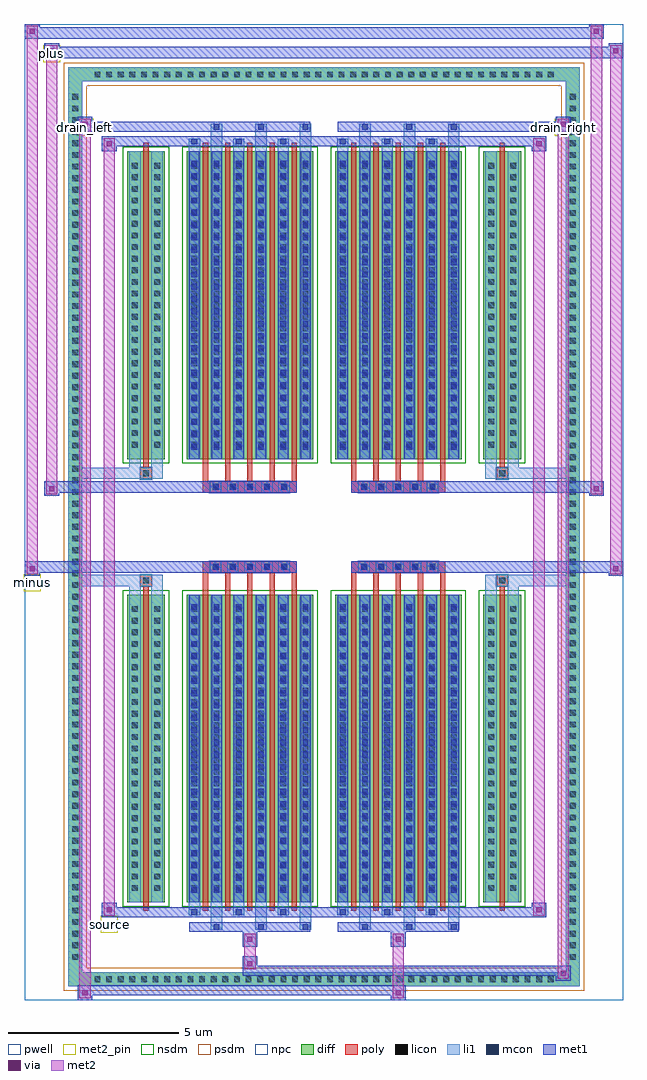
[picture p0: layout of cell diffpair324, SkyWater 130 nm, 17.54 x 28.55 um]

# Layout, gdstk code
import gdstk
lib = gdstk.Library(unit=1e-6, precision=5e-09)
def R(c, l, rs):  # rectangles x0, y0, x1, y1
    for r in rs: c.add(gdstk.rectangle(r[:2], r[2:], *l))
def A(c, l, x, y, w, h, nx, ny, dx, dy):  # array of equal rectangles
    R(c, l, [(x+i*dx, y+j*dy, x+i*dx+w, y+j*dy+h) for i in range(nx) for j in range(ny)])
def P(c, l, *ps):  # polygons
    for p in ps: c.add(gdstk.Polygon(p, *l))
pwell = (64, 44)
diff = (65, 20)
poly = (66, 20)
licon = (66, 44)
li1 = (67, 20)
mcon = (67, 44)
met1 = (68, 20)
via = (68, 44)
met2_pin = (69, 16)
met2 = (69, 20)
nsdm = (93, 44)
psdm = (94, 20)
npc = (95, 20)

diffpair324 = lib.new_cell('diffpair324')
R(diffpair324, pwell, [(-8.75,-13.84,8.75,14.71), (-6.07,-12.03,-0.01,-0.805), (0.01,-12.03,6.07,-0.805), (-6.07,0.805,-0.01,12.03), (0.01,0.805,6.07,12.03)])
A(diffpair324, diff, -6.835, -13.44, 0.41, 0.41, 40, 2, 0.34, 26.47)
A(diffpair324, diff, -7.48, -12.785, 0.41, 0.41, 1, 75, 0, 0.34)
A(diffpair324, diff, 7.07, -12.785, 0.41, 0.41, 1, 75, 0, 0.34)
R(diffpair324, diff, [(-6.835,-13.44,6.835,-13.03), (-7.48,-12.785,-7.07,12.785), (7.07,-12.785,7.48,12.785), (-5.76,-10.985,-4.66,-1.985), (-4.02,-10.985,-0.32,-1.985), (0.32,-10.985,4.02,-1.985), (4.66,-10.985,5.76,-1.985), (-5.76,1.985,-4.66,10.985), (-4.02,1.985,-0.32,10.985), (0.32,1.985,4.02,10.985), (4.66,1.985,5.76,10.985), (-6.835,13.03,6.835,13.44)])
P(diffpair324, diff, [(7.48,13.44),(-7.48,13.44),(-7.48,-13.03),(-7.07,-13.03),(-7.07,13.03),(7.07,13.03),(7.07,-13.03),(-7.07,-13.03),(-7.48,-13.03),(-7.48,-13.44),(7.48,-13.44)])
A(diffpair324, poly, -3.545, -11.235, 0.15, 9.5, 5, 2, 0.65, 12.97)
A(diffpair324, poly, 0.795, -11.235, 0.15, 9.5, 5, 2, 0.65, 12.97)
A(diffpair324, poly, -3.545, -1.735, 0.15, 0.4, 5, 2, 0.65, 3.07)
A(diffpair324, poly, 0.795, -1.735, 0.15, 0.4, 5, 2, 0.65, 3.07)
A(diffpair324, poly, -3.335, -1.335, 0.33, 0.33, 5, 2, 0.5, 2.34)
A(diffpair324, poly, 1.005, -1.335, 0.33, 0.33, 5, 2, 0.5, 2.34)
R(diffpair324, poly, [(-5.285,-11.235,-5.135,-1.735), (5.135,-11.235,5.285,-1.735), (-5.375,-1.735,-5.045,-1.405), (-5.375,-1.735,-5.045,-1.405), (5.045,-1.735,5.375,-1.405), (5.045,-1.735,5.375,-1.405), (-3.545,-1.335,-0.795,-1.005), (0.795,-1.335,3.545,-1.005), (-3.545,1.005,-0.795,1.335), (0.795,1.005,3.545,1.335), (-5.375,1.405,-5.045,1.735), (-5.375,1.405,-5.045,1.735), (5.045,1.405,5.375,1.735), (5.045,1.405,5.375,1.735), (-5.285,1.735,-5.135,11.235), (5.135,1.735,5.285,11.235)])
A(diffpair324, licon, -6.715, -13.32, 0.17, 0.17, 40, 2, 0.34, 26.47)
A(diffpair324, licon, -7.36, -12.665, 0.17, 0.17, 1, 75, 0, 0.34)
A(diffpair324, licon, 7.19, -12.665, 0.17, 0.17, 1, 75, 0, 0.34)
A(diffpair324, licon, -5.62, -10.65, 0.17, 0.17, 1, 25, 0, 0.34)
A(diffpair324, licon, -4.97, -10.65, 0.17, 0.17, 1, 25, 0, 0.34)
A(diffpair324, licon, -3.88, -10.65, 0.17, 0.17, 6, 25, 0.65, 0.34)
A(diffpair324, licon, 0.46, -10.65, 0.17, 0.17, 6, 25, 0.65, 0.34)
A(diffpair324, licon, 4.8, -10.65, 0.17, 0.17, 1, 25, 0, 0.34)
A(diffpair324, licon, 5.45, -10.65, 0.17, 0.17, 1, 25, 0, 0.34)
A(diffpair324, licon, -3.255, -1.255, 0.17, 0.17, 5, 2, 0.5, 2.34)
A(diffpair324, licon, 1.085, -1.255, 0.17, 0.17, 5, 2, 0.5, 2.34)
A(diffpair324, licon, -5.62, 2.32, 0.17, 0.17, 1, 25, 0, 0.34)
A(diffpair324, licon, -4.97, 2.32, 0.17, 0.17, 1, 25, 0, 0.34)
A(diffpair324, licon, -3.88, 2.32, 0.17, 0.17, 6, 25, 0.65, 0.34)
A(diffpair324, licon, 0.46, 2.32, 0.17, 0.17, 6, 25, 0.65, 0.34)
A(diffpair324, licon, 4.8, 2.32, 0.17, 0.17, 1, 25, 0, 0.34)
A(diffpair324, licon, 5.45, 2.32, 0.17, 0.17, 1, 25, 0, 0.34)
R(diffpair324, licon, [(-5.295,-1.655,-5.125,-1.485), (5.125,-1.655,5.295,-1.485), (-5.295,1.485,-5.125,1.655), (5.125,1.485,5.295,1.655)])
A(diffpair324, li1, -6.795, -13.4, 0.33, 0.33, 40, 2, 0.34, 26.47)
A(diffpair324, li1, -7.44, -12.745, 0.33, 0.33, 1, 75, 0, 0.34)
A(diffpair324, li1, 7.11, -12.745, 0.33, 0.33, 1, 75, 0, 0.34)
A(diffpair324, li1, -3.31, -11.79, 0.33, 0.805, 3, 2, 1.3, 22.775)
A(diffpair324, li1, -3.23, -11.79, 0.17, 0.17, 3, 2, 1.3, 23.41)
A(diffpair324, li1, 1.03, -11.79, 0.33, 0.805, 3, 2, 1.3, 22.775)
A(diffpair324, li1, 1.11, -11.79, 0.17, 0.17, 3, 2, 1.3, 23.41)
A(diffpair324, li1, -3.96, -11.36, 0.33, 0.375, 3, 2, 1.3, 22.345)
A(diffpair324, li1, -3.88, -11.36, 0.17, 0.17, 3, 2, 1.3, 22.55)
A(diffpair324, li1, 0.38, -11.36, 0.33, 0.375, 3, 2, 1.3, 22.345)
A(diffpair324, li1, 0.46, -11.36, 0.17, 0.17, 3, 2, 1.3, 22.55)
A(diffpair324, li1, -3.96, -10.985, 0.33, 9, 6, 2, 0.65, 12.97)
A(diffpair324, li1, 0.38, -10.985, 0.33, 9, 6, 2, 0.65, 12.97)
A(diffpair324, li1, -5.7, -10.73, 0.33, 0.33, 1, 25, 0, 0.34)
A(diffpair324, li1, -5.05, -10.73, 0.33, 0.33, 1, 25, 0, 0.34)
A(diffpair324, li1, -3.96, -10.73, 0.33, 0.33, 6, 25, 0.65, 0.34)
A(diffpair324, li1, 0.38, -10.73, 0.33, 0.33, 6, 25, 0.65, 0.34)
A(diffpair324, li1, 4.72, -10.73, 0.33, 0.33, 1, 25, 0, 0.34)
A(diffpair324, li1, 5.37, -10.73, 0.33, 0.33, 1, 25, 0, 0.34)
A(diffpair324, li1, -3.88, -10.71, 0.17, 0.17, 6, 24, 0.65, 0.36)
A(diffpair324, li1, -3.88, -10.71, 0.17, 8.45, 6, 2, 0.65, 12.97)
A(diffpair324, li1, 0.46, -10.71, 0.17, 0.17, 6, 24, 0.65, 0.36)
A(diffpair324, li1, 0.46, -10.71, 0.17, 8.45, 6, 2, 0.65, 12.97)
A(diffpair324, li1, -3.335, -1.335, 0.33, 0.33, 5, 2, 0.5, 2.34)
A(diffpair324, li1, 1.005, -1.335, 0.33, 0.33, 5, 2, 0.5, 2.34)
A(diffpair324, li1, -5.7, 2.24, 0.33, 0.33, 1, 25, 0, 0.34)
A(diffpair324, li1, -5.05, 2.24, 0.33, 0.33, 1, 25, 0, 0.34)
A(diffpair324, li1, -3.96, 2.24, 0.33, 0.33, 6, 25, 0.65, 0.34)
A(diffpair324, li1, 0.38, 2.24, 0.33, 0.33, 6, 25, 0.65, 0.34)
A(diffpair324, li1, 4.72, 2.24, 0.33, 0.33, 1, 25, 0, 0.34)
A(diffpair324, li1, 5.37, 2.24, 0.33, 0.33, 1, 25, 0, 0.34)
A(diffpair324, li1, -3.88, 2.26, 0.17, 0.17, 6, 24, 0.65, 0.36)
A(diffpair324, li1, 0.46, 2.26, 0.17, 0.17, 6, 24, 0.65, 0.36)
R(diffpair324, li1, [(-7.48,-13.44,-7.07,-13.03), (-7.48,-13.44,-7.07,-13.03), (-7.07,-13.44,7.07,-13.03), (7.07,-13.44,7.48,-13.03), (7.07,-13.44,7.48,-13.03), (-7.48,-13.03,-7.07,13.03), (7.07,-13.03,7.48,13.03), (-5.7,-10.985,-5.37,-1.985), (-5.05,-10.985,-4.72,-1.985), (4.72,-10.985,5.05,-1.985), (5.37,-10.985,5.7,-1.985), (-5.7,-1.985,-5.37,-1.405), (-5.05,-1.985,-4.72,-1.405), (4.72,-1.985,5.05,-1.405), (5.37,-1.985,5.7,-1.405), (-7.48,-1.735,-5.375,-1.405), (-5.7,-1.735,-5.375,-1.405), (-5.375,-1.735,-5.045,-1.405), (-5.045,-1.735,-4.72,-1.405), (4.72,-1.735,5.045,-1.405), (5.045,-1.735,5.375,-1.405), (5.045,-1.735,7.48,-1.405), (5.375,-1.735,5.7,-1.405), (-7.48,1.405,-5.375,1.735), (-5.7,1.405,-5.375,1.735), (-5.7,1.405,-5.37,1.985), (-5.375,1.405,-5.045,1.735), (-5.05,1.405,-4.72,1.985), (-5.045,1.405,-4.72,1.735), (4.72,1.405,5.045,1.735), (4.72,1.405,5.05,1.985), (5.045,1.405,5.375,1.735), (5.045,1.405,7.48,1.735), (5.37,1.405,5.7,1.985), (5.375,1.405,5.7,1.735), (-5.7,1.985,-5.37,10.985), (-5.05,1.985,-4.72,10.985), (4.72,1.985,5.05,10.985), (5.37,1.985,5.7,10.985), (-7.48,13.03,-7.07,13.44), (-7.48,13.03,-7.07,13.44), (-7.07,13.03,7.07,13.44), (7.07,13.03,7.48,13.44), (7.07,13.03,7.48,13.44)])
A(diffpair324, mcon, -3.23, -11.79, 0.17, 0.17, 3, 2, 1.3, 23.41)
A(diffpair324, mcon, 1.11, -11.79, 0.17, 0.17, 3, 2, 1.3, 23.41)
A(diffpair324, mcon, -3.88, -11.36, 0.17, 0.17, 3, 2, 1.3, 22.55)
A(diffpair324, mcon, 0.46, -11.36, 0.17, 0.17, 3, 2, 1.3, 22.55)
A(diffpair324, mcon, -3.88, -10.71, 0.17, 0.17, 6, 24, 0.65, 0.36)
A(diffpair324, mcon, 0.46, -10.71, 0.17, 0.17, 6, 24, 0.65, 0.36)
A(diffpair324, mcon, -3.255, -1.255, 0.17, 0.17, 5, 2, 0.5, 2.34)
A(diffpair324, mcon, 1.085, -1.255, 0.17, 0.17, 5, 2, 0.5, 2.34)
A(diffpair324, mcon, -3.88, 2.26, 0.17, 0.17, 6, 24, 0.65, 0.36)
A(diffpair324, mcon, 0.46, 2.26, 0.17, 0.17, 6, 24, 0.65, 0.36)
A(diffpair324, met1, -3.29, -11.85, 0.29, 0.29, 3, 2, 1.3, 23.41)
A(diffpair324, met1, 1.05, -11.85, 0.29, 0.29, 3, 2, 1.3, 23.41)
A(diffpair324, met1, -3.94, -11.42, 0.29, 0.29, 3, 2, 1.3, 22.55)
A(diffpair324, met1, 0.4, -11.42, 0.29, 0.29, 3, 2, 1.3, 22.55)
A(diffpair324, met1, -3.94, -10.985, 0.29, 9, 6, 2, 0.65, 12.97)
A(diffpair324, met1, 0.4, -10.985, 0.29, 9, 6, 2, 0.65, 12.97)
A(diffpair324, met1, -3.94, -10.77, 0.29, 0.29, 6, 24, 0.65, 0.36)
A(diffpair324, met1, 0.4, -10.77, 0.29, 0.29, 6, 24, 0.65, 0.36)
A(diffpair324, met1, -3.315, -1.315, 0.29, 0.29, 5, 2, 0.5, 2.34)
A(diffpair324, met1, 1.025, -1.315, 0.29, 0.29, 5, 2, 0.5, 2.34)
A(diffpair324, met1, -3.94, 2.2, 0.29, 0.29, 6, 24, 0.65, 0.36)
A(diffpair324, met1, 0.4, 2.2, 0.29, 0.29, 6, 24, 0.65, 0.36)
R(diffpair324, met1, [(-7.21,-13.84,-6.78,-13.41), (1.955,-13.84,2.385,-13.41), (-7.21,-13.7,2.385,-13.41), (6.78,-13.27,7.21,-12.84), (-2.385,-13.13,7.21,-12.84), (-2.385,-12.99,-1.955,-12.56), (-2.385,-12.28,-1.955,-11.85), (1.955,-12.28,2.385,-11.85), (-3.94,-11.85,-0.4,-11.56), (0.4,-11.85,3.94,-11.56), (-6.5,-11.42,-6.07,-10.99), (-6.5,-11.42,-3.94,-11.13), (-3.94,-11.42,-0.4,-11.13), (-0.4,-11.42,0.4,-11.13), (0.4,-11.42,3.94,-11.13), (3.94,-11.42,6.5,-11.13), (6.07,-11.42,6.5,-10.99), (-8.75,-1.435,-8.32,-1.005), (8.32,-1.435,8.75,-1.005), (-8.75,-1.335,-0.795,-1.005), (-3.545,-1.335,-0.795,-1.005), (0.795,-1.335,3.545,-1.005), (0.795,-1.335,8.75,-1.005), (-8.18,0.905,-7.75,1.335), (7.75,0.905,8.18,1.335), (-8.18,1.005,-3.545,1.335), (-3.545,1.005,-0.795,1.335), (0.795,1.005,3.545,1.335), (3.545,1.005,8.18,1.335), (-6.5,10.99,-6.07,11.42), (6.07,10.99,6.5,11.42), (-6.5,11.13,-3.94,11.42), (-3.94,11.13,-0.4,11.42), (-0.4,11.13,0.4,11.42), (0.4,11.13,3.94,11.42), (3.94,11.13,6.5,11.42), (-7.21,11.56,-6.78,11.99), (-7.21,11.56,-3.94,11.85), (-3.94,11.56,-0.4,11.85), (0.4,11.56,3.94,11.85), (3.94,11.56,7.21,11.85), (6.78,11.56,7.21,11.99), (-8.18,13.71,-7.75,14.14), (-8.18,13.71,-6.07,14.04), (-6.07,13.71,6.07,14.04), (6.07,13.71,8.75,14.04), (8.32,13.71,8.75,14.14), (-8.75,14.28,-8.32,14.71), (-8.75,14.28,-6.07,14.61), (-6.07,14.28,6.07,14.61), (6.07,14.28,8.18,14.61), (7.75,14.28,8.18,14.71)])
R(diffpair324, via, [(-7.07,-13.7,-6.92,-13.55), (2.095,-13.7,2.245,-13.55), (6.92,-13.13,7.07,-12.98), (-2.245,-12.85,-2.095,-12.7), (-2.245,-12.14,-2.095,-11.99), (2.095,-12.14,2.245,-11.99), (-6.36,-11.28,-6.21,-11.13), (6.21,-11.28,6.36,-11.13), (-8.61,-1.295,-8.46,-1.145), (8.46,-1.295,8.61,-1.145), (-8.04,1.045,-7.89,1.195), (7.89,1.045,8.04,1.195), (-6.36,11.13,-6.21,11.28), (6.21,11.13,6.36,11.28), (-7.07,11.7,-6.92,11.85), (6.92,11.7,7.07,11.85), (-8.04,13.85,-7.89,14), (8.46,13.85,8.61,14), (-8.61,14.42,-8.46,14.57), (7.89,14.42,8.04,14.57)])
R(diffpair324, met2_pin, [(-6.535,-11.87,-6.035,-11.37), (-8.785,-1.885,-8.285,-1.385), (-7.245,11.44,-6.745,11.94), (6.745,11.44,7.245,11.94), (-8.215,13.59,-7.715,14.09)])
R(diffpair324, met2, [(-7.16,-13.79,-6.83,-13.46), (-7.16,-13.79,-6.83,11.94), (2.005,-13.79,2.335,-13.46), (2.005,-13.46,2.335,-12.23), (6.83,-13.22,7.16,-12.89), (6.83,-13.22,7.16,11.94), (-2.335,-12.94,-2.005,-12.61), (-2.335,-12.61,-2.005,-12.23), (-2.335,-12.23,-2.005,-11.9), (2.005,-12.23,2.335,-11.9), (-6.45,-11.37,-6.12,-11.04), (-6.45,-11.37,-6.12,11.37), (6.12,-11.37,6.45,-11.04), (6.12,-11.37,6.45,11.37), (-8.7,-1.385,-8.37,-1.055), (-8.7,-1.385,-8.37,14.66), (8.37,-1.385,8.7,-1.055), (8.37,-1.385,8.7,14.09), (-8.13,0.955,-7.8,1.285), (-8.13,0.955,-7.8,14.09), (7.8,0.955,8.13,1.285), (7.8,0.955,8.13,14.66), (-6.45,11.04,-6.12,11.37), (6.12,11.04,6.45,11.37), (-7.16,11.61,-6.83,11.94), (6.83,11.61,7.16,11.94), (-8.13,13.76,-7.8,14.09), (8.37,13.76,8.7,14.09), (-8.7,14.33,-8.37,14.66), (7.8,14.33,8.13,14.66)])
P(diffpair324, met2, [(8.7,-1.385),(8.7,-1.385),(8.7,-1.055),(8.7,-1.055)],
  [(8.7,13.76),(8.7,13.76),(8.7,14.09),(8.7,14.09)],
  [(-8.37,-1.385),(-8.37,-1.385),(-8.37,-1.055),(-8.37,-1.055)],
  [(-8.37,14.33),(-8.37,14.33),(-8.37,14.66),(-8.37,14.66)],
  [(8.13,0.955),(8.13,0.955),(8.13,1.285),(8.13,1.285)],
  [(8.13,14.33),(8.13,14.33),(8.13,14.66),(8.13,14.66)],
  [(-7.8,0.955),(-7.8,0.955),(-7.8,1.285),(-7.8,1.285)],
  [(-7.8,13.76),(-7.8,13.76),(-7.8,14.09),(-7.8,14.09)],
  [(-6.83,-13.79),(-6.83,-13.79),(-6.83,-13.46),(-6.83,-13.46)],
  [(-6.83,11.61),(-6.83,11.61),(-6.83,11.94),(-6.83,11.94)],
  [(7.16,-13.22),(7.16,-13.22),(7.16,-12.89),(7.16,-12.89)],
  [(7.16,11.61),(7.16,11.61),(7.16,11.94),(7.16,11.94)],
  [(-6.12,-11.37),(-6.12,-11.37),(-6.12,-11.04),(-6.12,-11.04)],
  [(-6.12,11.04),(-6.12,11.04),(-6.12,11.37),(-6.12,11.37)],
  [(6.45,-11.37),(6.45,-11.37),(6.45,-11.04),(6.45,-11.04)],
  [(6.45,11.04),(6.45,11.04),(6.45,11.37),(6.45,11.37)])
R(diffpair324, nsdm, [(-5.89,-11.115,-4.53,-1.855), (-4.15,-11.115,-0.19,-1.855), (0.19,-11.115,4.15,-1.855), (4.53,-11.115,5.89,-1.855), (-5.89,1.855,-4.53,11.115), (-4.15,1.855,-0.19,11.115), (0.19,1.855,4.15,11.115), (4.53,1.855,5.89,11.115)])
P(diffpair324, psdm, [(7.61,13.57),(-7.61,13.57),(-7.61,-12.9),(-6.94,-12.9),(-6.94,12.9),(6.94,12.9),(6.94,-12.9),(-6.94,-12.9),(-7.61,-12.9),(-7.61,-13.57),(7.61,-13.57)])
A(diffpair324, npc, -3.355, -1.355, 0.37, 0.37, 5, 2, 0.5, 2.34)
A(diffpair324, npc, 0.985, -1.355, 0.37, 0.37, 5, 2, 0.5, 2.34)
R(diffpair324, npc, [(-5.395,-1.755,-5.025,-1.385), (5.025,-1.755,5.395,-1.385), (-3.355,-1.355,-2.485,-0.985), (-3.355,-1.355,-2.485,-0.985), (-2.855,-1.355,-1.985,-0.985), (-2.855,-1.355,-1.985,-0.985), (-2.355,-1.355,-1.485,-0.985), (-2.355,-1.355,-1.485,-0.985), (-1.855,-1.355,-0.985,-0.985), (-1.855,-1.355,-0.985,-0.985), (0.985,-1.355,1.855,-0.985), (0.985,-1.355,1.855,-0.985), (1.485,-1.355,2.355,-0.985), (1.485,-1.355,2.355,-0.985), (1.985,-1.355,2.855,-0.985), (1.985,-1.355,2.855,-0.985), (2.485,-1.355,3.355,-0.985), (2.485,-1.355,3.355,-0.985), (-3.355,0.985,-2.485,1.355), (-3.355,0.985,-2.485,1.355), (-2.855,0.985,-1.985,1.355), (-2.855,0.985,-1.985,1.355), (-2.355,0.985,-1.485,1.355), (-2.355,0.985,-1.485,1.355), (-1.855,0.985,-0.985,1.355), (-1.855,0.985,-0.985,1.355), (0.985,0.985,1.855,1.355), (0.985,0.985,1.855,1.355), (1.485,0.985,2.355,1.355), (1.485,0.985,2.355,1.355), (1.985,0.985,2.855,1.355), (1.985,0.985,2.855,1.355), (2.485,0.985,3.355,1.355), (2.485,0.985,3.355,1.355), (-5.395,1.385,-5.025,1.755), (5.025,1.385,5.395,1.755)])
diffpair324.add(gdstk.Label('minus', (-8.535,-1.635), layer=69, texttype=5))
diffpair324.add(gdstk.Label('drain_right', (6.995,11.69), layer=69, texttype=5))
diffpair324.add(gdstk.Label('drain_left', (-6.995,11.69), layer=69, texttype=5))
diffpair324.add(gdstk.Label('source', (-6.285,-11.62), layer=69, texttype=5))
diffpair324.add(gdstk.Label('plus', (-7.965,13.84), layer=69, texttype=5))

lib.write_gds('diffpair324.gds')
